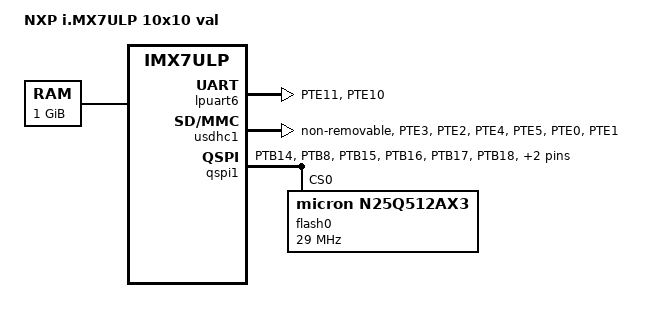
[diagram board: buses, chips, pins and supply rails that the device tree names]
/*
 * Copyright 2016 Freescale Semiconductor, Inc.
 *
 * This program is free software; you can redistribute it and/or modify
 * it under the terms of the GNU General Public License version 2 as
 * published by the Free Software Foundation.
 */

/dts-v1/;

#include "imx7ulp.dtsi"

/ {
	model = "NXP i.MX7ULP 10x10 val";
	compatible = "fsl,imx7ulp-10x10-val", "fsl,imx7ulp", "Generic DT based system";

	chosen {
		bootargs = "console=ttyLP0,115200 earlycon=lpuart32,0x40A60000,115200";
		stdout-path = &lpuart6;
	};

	memory {
		device_type = "memory";
		reg = <0x60000000 0x40000000>;
	};
};

&iomuxc1 {
	pinctrl-names = "default";

	imx7ulp-10x10-val {
		pinctrl_lpuart6: lpuart6grp {
			fsl,pins = <
				IMX7ULP_PAD_PTE11__LPUART6_RX	0x400
				IMX7ULP_PAD_PTE10__LPUART6_TX	0x400
			>;
		};

		pinctrl_usdhc1: usdhc1grp {
			fsl,pins = <
				IMX7ULP_PAD_PTE3__SDHC1_CMD	0x843
				IMX7ULP_PAD_PTE2__SDHC1_CLK	0x843
				IMX7ULP_PAD_PTE4__SDHC1_D3	0x843
				IMX7ULP_PAD_PTE5__SDHC1_D2	0x843
				IMX7ULP_PAD_PTE0__SDHC1_D1	0x843
				IMX7ULP_PAD_PTE1__SDHC1_D0	0x843
			>;
		};

		pinctrl_qspi1_1: qspi1grp_1 {
			fsl,pins = <
				IMX7ULP_PAD_PTB14__QSPIA_SS1_B   0x43 /* SS1 */
				IMX7ULP_PAD_PTB8__QSPIA_SS0_B   0x43 /* SS0 */
				IMX7ULP_PAD_PTB15__QSPIA_SCLK   0x43 /* SCLK */
				IMX7ULP_PAD_PTB16__QSPIA_DATA3  0x43 /* D3 */
				IMX7ULP_PAD_PTB17__QSPIA_DATA2  0x43 /* D2 */
				IMX7ULP_PAD_PTB18__QSPIA_DATA1  0x43 /* D1 */
				IMX7ULP_PAD_PTB19__QSPIA_DATA0  0x43 /* D0 */
				IMX7ULP_PAD_PTB5__PTB5 0x20003
			>;
		};
	};
};

&lpuart6 { /* console */
	pinctrl-names = "default";
	pinctrl-0 = <&pinctrl_lpuart6>;
	status = "okay";
};

&usdhc1 {
	pinctrl-names = "default", "sleep";
	pinctrl-0 = <&pinctrl_usdhc1>;
	pinctrl-1 = <&pinctrl_usdhc1>;
	non-removable;
	status = "okay";
};

&qspi1 {
	pinctrl-names = "default";
	pinctrl-0 = <&pinctrl_qspi1_1>;
	status = "okay";

	flash0: n25q512ax3@0 {
		reg = <0>;
		#address-cells = <1>;
		#size-cells = <1>;
		compatible = "micron,n25q512ax3", "jedec,spi-nor";
		spi-max-frequency = <29000000>;
	};
};
